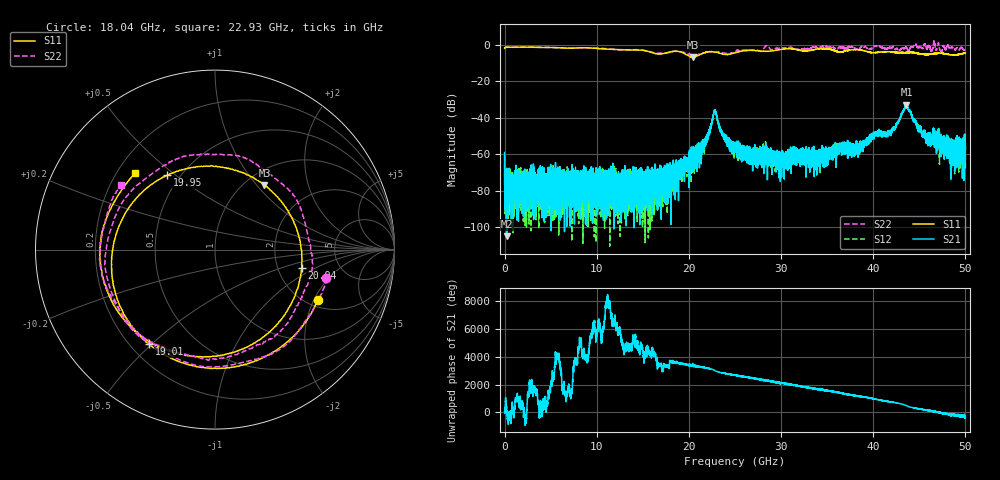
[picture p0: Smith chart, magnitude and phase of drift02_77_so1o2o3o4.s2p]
!Created with skrf (http://scikit-rf.org).
# Hz S RI R 50.0
!freq ReS11 ImS11 ReS21 ImS21 ReS12 ImS12 ReS22 ImS22
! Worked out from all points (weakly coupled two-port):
!   10001 points, 300 kHz to 50 GHz, reference 50 ohm
!   highest |S21| = -32.97 dB at 43.61 GHz (marker M1); lowest = -105.1 dB at 240.3 MHz (marker M2)
!   lowest |S11| = -6.9 dB at 20.45 GHz (marker M3), VSWR 2.64, Z = 61 + j54.7 ohm
!   |S11| at or under -10 dB: nowhere
!   |S22| runs from -5.7 to 2.3 dB; largest |S21 - S12| = 0.003
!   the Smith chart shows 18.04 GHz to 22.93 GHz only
!   S11 on the Smith chart (normalised r, x): 18.04 GHz: 2.26, -2.14; 19.01 GHz: 0.27, -0.49; 19.95 GHz: 0.43, +0.47; 20.94 GHz: 2.71, -0.75; 22.93 GHz: 0.27, +0.38
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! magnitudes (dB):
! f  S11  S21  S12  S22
! 300 kHz  -2.0  -59.1  -60.9  -2.1
! 240.3 MHz  -1.4  -105.1  -74.8  -1.4
! 8.335 GHz  -1.7  -82.3  -75.1  -1.9
! 16.67 GHz  -5.2  -71.3  -76.7  -4.7
! 18.04 GHz  -3.9  -77.5  -76.0  -3.9
! 19.01 GHz  -3.8  -68.5  -71.6  -3.9
! 19.95 GHz  -6.2  -66.8  -64.4  -5.2
! 20.45 GHz  -6.9  -64.7  -60.5  -5.4
! 20.94 GHz  -6.1  -59.0  -62.9  -5.6
! 21.89 GHz  -4.1  -53.2  -51.4  -4.3
! 22.93 GHz  -4.2  -37.1  -37.6  -4.0
! 23.79 GHz  -5.3  -49.4  -52.3  -4.6
! 25 GHz  -4.5  -55.6  -55.5  -3.9
! 29.68 GHz  -2.9  -58.6  -68.3  -2.1
! 33.34 GHz  -3.0  -62.4  -61.0  -1.6
! 38.15 GHz  -2.8  -57.4  -57.4  -2.2
! 40.39 GHz  -4.3  -49.8  -48.9  -0.9
! 41.67 GHz  -3.9  -48.0  -49.0  -2.0
! 43.61 GHz  -4.4  -33.0  -33.3  -1.5
! 45.74 GHz  -5.6  -51.9  -51.2  -1.4
! 49.73 GHz  -4.9  -54.8  -60.0  -2.3
! 50 GHz  -4.6  -54.4  -68.4  -2.7
